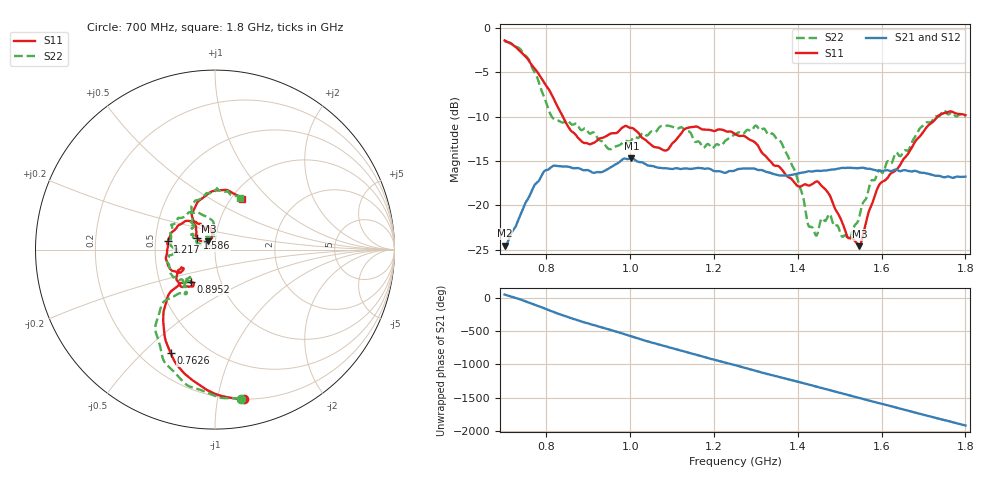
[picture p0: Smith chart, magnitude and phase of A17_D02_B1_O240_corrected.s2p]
! Created with skrf 1.9.0 (http://scikit-rf.org).
# Hz S RI R 50.0
!freq ReS11 ImS11 ReS21 ImS21 ReS12 ImS12 ReS22 ImS22
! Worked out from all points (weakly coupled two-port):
!   1601 points, 700 MHz to 1.8 GHz, reference 50 ohm
!   highest |S21| = -14.70 dB at 1.002 GHz (marker M1); lowest = -24.6 dB at 700.7 MHz (marker M2)
!   lowest |S11| = -24.6 dB at 1.547 GHz (marker M3), VSWR 1.12, Z = 46.3 + j4.28 ohm
!   |S11| at or under -10 dB: 838.9 MHz to 1.733 GHz (894.6 MHz wide, 69.6 % of centre)
!   |S22| runs from -23.9 to -1.5 dB; largest |S21 - S12| = 0.0034
!   S11 on the Smith chart (normalised r, x): 700 MHz: 0.20, -1.19; 762.6 MHz: 0.32, -0.61; 895.2 MHz: 0.72, -0.27; 1.217 GHz: 0.58, +0.06; 1.586 GHz: 0.82, +0.11; 1.8 GHz: 1.12, +0.71
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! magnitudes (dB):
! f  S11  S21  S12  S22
! 700 MHz  -1.4  -24.5  -24.3  -1.5
! 700.7 MHz  -1.4  -24.6  -24.3  -1.5
! 762.6 MHz  -4.0  -18.6  -18.6  -4.1
! 814.1 MHz  -7.7  -15.6  -15.6  -10.1
! 883.6 MHz  -12.8  -16.0  -15.9  -11.5
! 895.2 MHz  -13.0  -16.0  -16.1  -11.4
! 950.2 MHz  -12.0  -15.8  -15.8  -13.7
! 1.002 GHz  -11.3  -14.7  -14.8  -12.7
! 1.067 GHz  -13.5  -15.8  -15.7  -11.3
! 1.138 GHz  -11.3  -15.9  -15.8  -11.7
! 1.217 GHz  -11.5  -16.2  -16.2  -13.3
! 1.25 GHz  -12.0  -16.1  -16.0  -12.0
! 1.3 GHz  -13.0  -15.9  -15.9  -11.0
! 1.359 GHz  -15.8  -16.7  -16.6  -12.8
! 1.434 GHz  -17.6  -16.2  -16.2  -22.5
! 1.476 GHz  -18.8  -16.0  -16.0  -21.0
! 1.522 GHz  -23.7  -15.8  -15.8  -23.9
! 1.547 GHz  -24.6  -15.8  -15.8  -21.3
! 1.586 GHz  -18.6  -16.1  -16.1  -16.9
! 1.617 GHz  -16.7  -16.1  -16.1  -15.1
! 1.737 GHz  -9.9  -16.7  -16.7  -10.0
! 1.8 GHz  -9.8  -16.8  -16.8  -10.0
